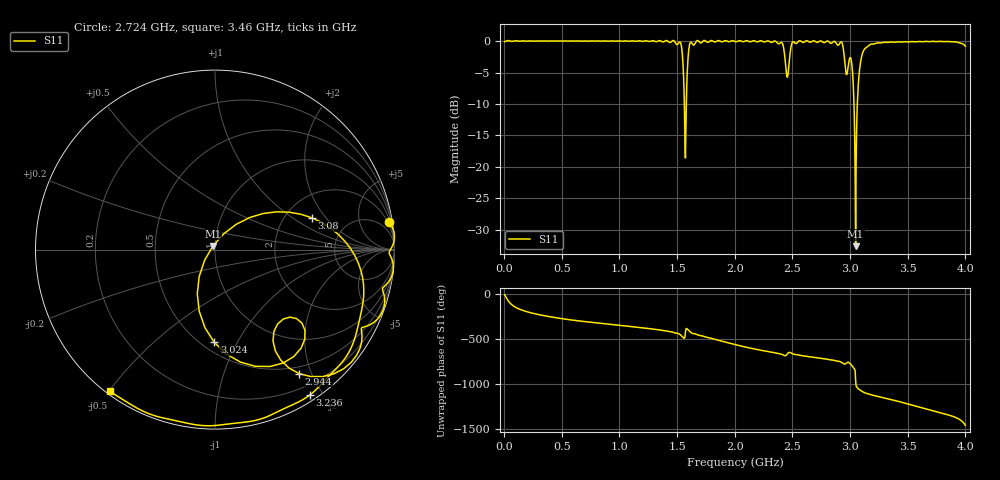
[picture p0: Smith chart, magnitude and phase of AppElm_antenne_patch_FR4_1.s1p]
! TOUCHSTONE file generated by CST MICROWAVE STUDIO
! Date and time: Tue Jun  7 21:56:58 2022
! Project name: AppElm_antenne_patch_FR4.cst
! Parameters = {L=45; W=58.5; e=0.035; h=1.6; lambda=0.190476; ls=90; w0=1.6; w1=0.533; ws=120; y0=20; y1=23.81}
! Header version: 2018
! Port assignment regex: !\s*Touchstone port\s*([0-9]+)\s*=\s*(CST MWS port|CST DS port)\s*([0-9]+|Zmin|Zmax)\s*\(\"(.*)\"\)(\s*mode\s*([0-9]+))?.*
! Touchstone port assignment:
! Touchstone port 1 = CST MWS port 1 ("")
# GHz S MA R 50
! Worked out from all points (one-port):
!   1000 points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, 4 MHz to 4 GHz, reference 50 ohm
!   lowest |S11| = -32.6 dB at 3.048 GHz (marker M1), VSWR 1.05, Z = 48.9 + j2.02 ohm
!   |S11| at or under -10 dB: 1.563 GHz to 1.58 GHz (17.23 MHz wide, 1.1 % of centre); 3.034 GHz to 3.063 GHz (29.48 MHz wide, 0.967 % of centre)
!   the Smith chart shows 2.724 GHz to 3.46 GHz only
!   S11 on the Smith chart (normalised r, x): 2.724 GHz: 1, +13; 2.944 GHz: 0.40, -1.82; 3.024 GHz: 0.57, -0.81; 3.08 GHz: 2.79, +1.46; 3.236 GHz: 0.07, -1.85; 3.46 GHz: 0.01, -0.50
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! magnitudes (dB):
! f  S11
! 4 MHz  -0.1
! 504 MHz  0.0
! 1.004 GHz  0.0
! 1.504 GHz  -0.5
! 1.536 GHz  -0.7
! 1.556 GHz  -5.7
! 1.572 GHz  -18.6
! 1.584 GHz  -7.0
! 1.604 GHz  -1.0
! 1.62 GHz  -0.2
! 2.004 GHz  -0.1
! 2.4 GHz  -0.2
! 2.456 GHz  -5.7
! 2.504 GHz  -0.1
! 2.724 GHz  -0.2
! 2.944 GHz  -1.6
! 2.968 GHz  -5.3
! 3.004 GHz  -2.6
! 3.024 GHz  -5.7
! 3.032 GHz  -9.0
! 3.048 GHz  -32.6
! 3.064 GHz  -9.5
! 3.08 GHz  -4.9
! 3.12 GHz  -1.4
! 3.236 GHz  -0.3
! 3.46 GHz  -0.1
! 3.504 GHz  -0.1
! 4 GHz  -0.9
